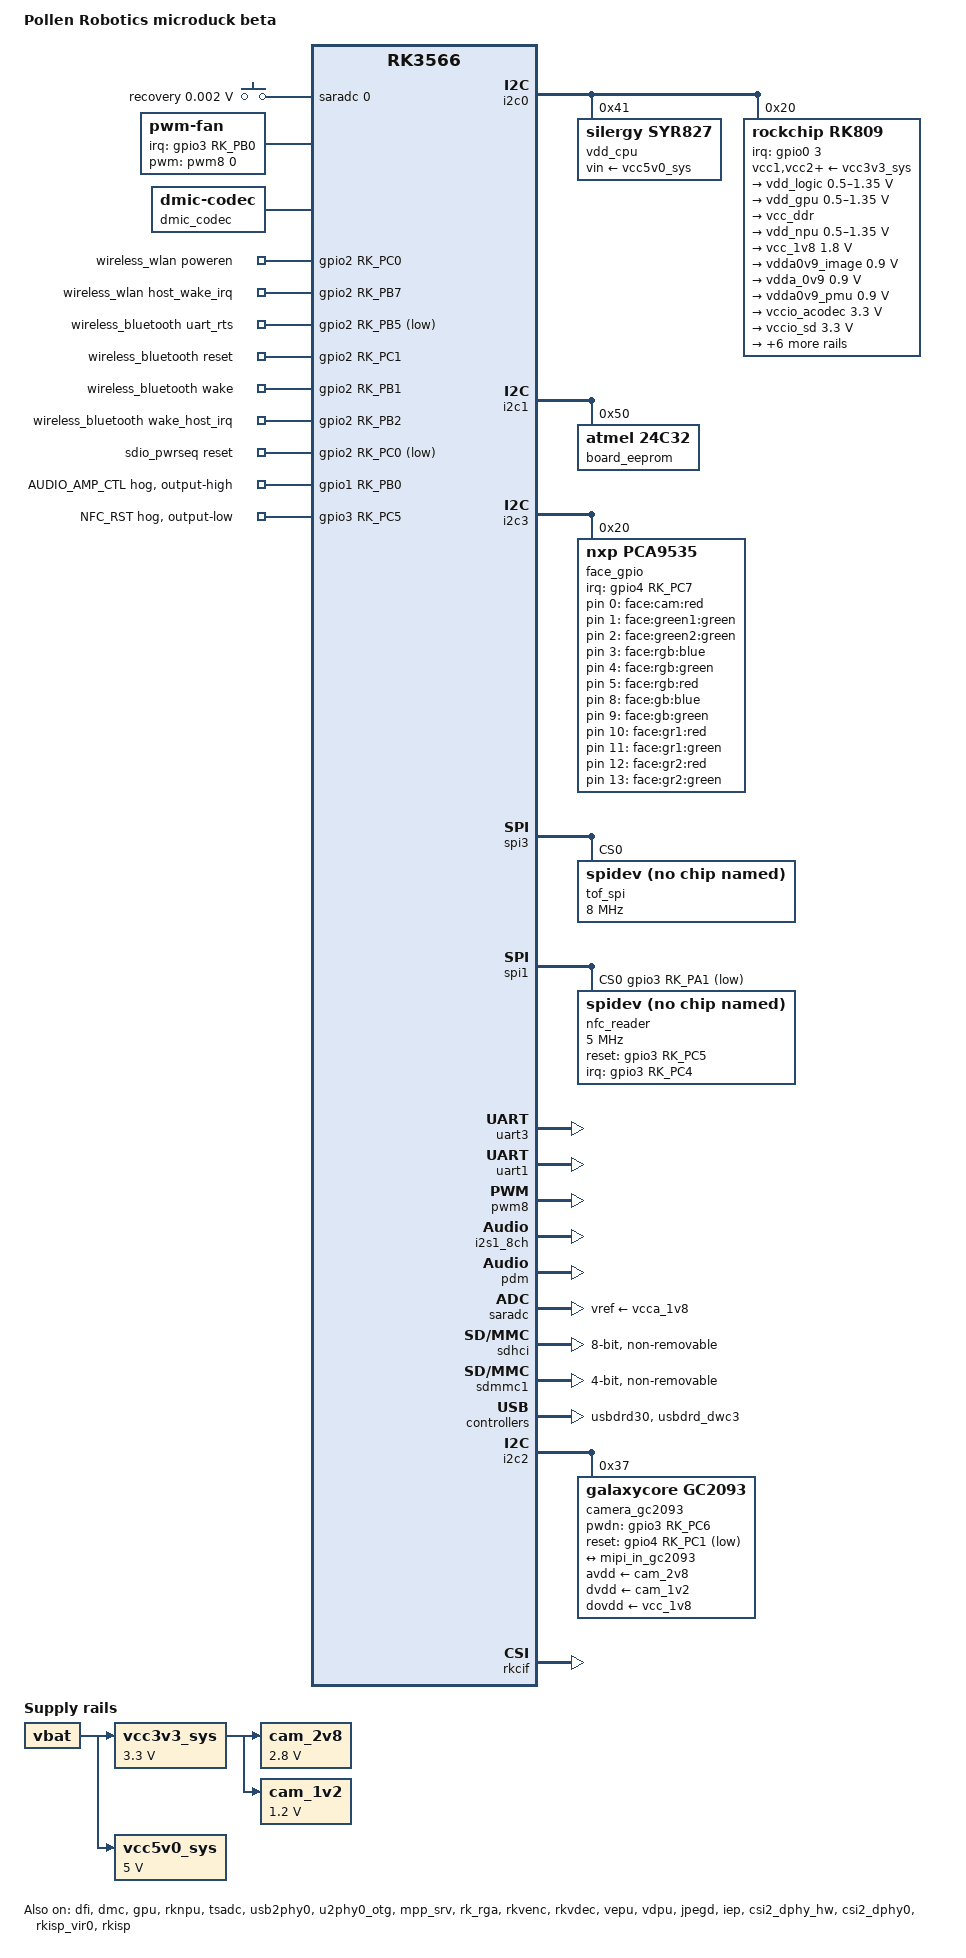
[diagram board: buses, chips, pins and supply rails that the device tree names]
// SPDX-License-Identifier: (GPL-2.0+ OR MIT)
/*
 * microduck beta: Seeed "MicroDuck Main Board", RK3566, 1 GB DDR4, 64 GB eMMC.
 *
 * Transcribed from the V0.1 schematic dated 2026-09-09 (24 sheets), then
 * corrected against the device tree Seeed's own image boots on a real board
 * (Armbian "microduck", vendor 6.1.172, built 2026-09-29; model "Microduck
 * Main Board V0.1", compatible "seeed,microduck"), read from
 * /sys/firmware/fdt on 2026-10-05. The schematic is OLDER than the boards, and
 * where the two disagree Seeed's tree wins, because their image runs on the
 * board -- its radio associates, for one. Blocks marked "Seeed DTB" were taken
 * or corrected from it; the rest is still "what V0.1 says". Sheet numbers are
 * cited so a newer schematic can be diffed against this file block by block.
 *
 * Built on Rockchip's own rk3566.dtsi + rk3568-linux.dtsi, the same base as
 * radxa's rk3566-radxa-zero3.dtsi, so everything SoC-level (MPP, RGA, ISP,
 * NPU, GPU) is described exactly as on the Zero 3W the image already runs on.
 * What differs is the board: a different PMIC (RK809, not RK817), a different
 * motor UART, eMMC instead of SD, a codec instead of HDMI, and a face board.
 *
 * Seeed's image is Armbian, and its kernel tree is not ours, so their DTB is
 * evidence, not a drop-in: SoC-level nodes differ between the two trees.
 *
 * Not a Zero 3W in any respect beyond the SoC: do not include
 * rk3566-radxa-zero3.dtsi here, and do not port fixes between the two blindly.
 */

/dts-v1/;

#include <dt-bindings/gpio/gpio.h>
#include <dt-bindings/input/input.h>
#include <dt-bindings/pinctrl/rockchip.h>
#include <dt-bindings/pwm/pwm.h>
#include "rk3566.dtsi"
#include "rk3568-linux.dtsi"

/ {
	model = "Pollen Robotics microduck beta";
	/*
	 * The first entry is what tells software it is on a beta board:
	 * /proc/device-tree/compatible. The board *revision* within the family
	 * comes from the SARADC_VIN1 divider instead (see &saradc), so a later
	 * board spin keeps this string unless it needs a different DTB.
	 */
	compatible = "pollen,microduck-beta", "rockchip,rk3566";

	/*
	 * The motor bus is UART3 here, not UART2 -- but it enumerates as
	 * /dev/ttyS2, because these two aliases are swapped.
	 *
	 * Deliberate: /dev/ttyS2 is the motor bus in robotd.toml, in the daemon's
	 * install scripts and in every doc, because on the Zero 3W it really is
	 * UART2. Renaming the device per board would mean a per-machine robotd.toml
	 * (and so a per-machine build of the whole Rust daemon recipe) to change
	 * one string. 8250_dw takes its line number from the "serial" alias
	 * (8250_dw.c: of_alias_get_id(np, "serial")), so this costs nothing.
	 *
	 * UART2 itself stays the FIQ debug console (ttyFIQ0), which is not an 8250
	 * port, so nothing else wants the ttyS2 name.
	 */
	aliases {
		serial2 = &uart3;
		serial3 = &uart2;
	};

	/*
	 * rk3568-linux.dtsi's bootargs carry root=PARTUUID=614e0000-0000. Replaced,
	 * not appended to, for the reason 0001-*-restore-chosen-bootargs.patch gives
	 * for the Zero 3W: U-Boot's RAUC script passes root=PARTLABEL=rootfs_a|b,
	 * and a root= here would REPLACE it and pin every boot to one slot.
	 *
	 * Unlike the Zero 3W, earlycon and console=ttyFIQ0 are wanted and safe:
	 * UART2 (0xfe660000) is the debug UART on test pads TP83/TP84 (sheet 24,
	 * "Default debug UART 3.3V"), not the motor bus.
	 */
	chosen {
		bootargs = "earlycon=uart8250,mmio32,0xfe660000 console=ttyFIQ0 rw rootwait";
	};

	/* Sheet 4/5: the battery feeds two TPS54302 bucks. */
	vbat: vbat {
		compatible = "regulator-fixed";
		regulator-name = "vbat";
		regulator-always-on;
		regulator-boot-on;
	};

	vcc3v3_sys: vcc3v3-sys {
		compatible = "regulator-fixed";
		regulator-name = "vcc3v3_sys";
		regulator-always-on;
		regulator-boot-on;
		regulator-min-microvolt = <3300000>;
		regulator-max-microvolt = <3300000>;
		vin-supply = <&vbat>;
	};

	vcc5v0_sys: vcc5v0-sys {
		compatible = "regulator-fixed";
		regulator-name = "vcc5v0_sys";
		regulator-always-on;
		regulator-boot-on;
		regulator-min-microvolt = <5000000>;
		regulator-max-microvolt = <5000000>;
		vin-supply = <&vbat>;
	};

	/*
	 * Sheet 21/14: the Recovery button pulls SARADC_VIN0 to ground (10k to
	 * VCCA_1V8 otherwise). Described the way Rockchip's evb does it, because
	 * Rockchip's U-Boot reads this node from the kernel DTB to decide whether
	 * to enter rockusb (loader) mode -- which is what lets the button replace
	 * shorting the maskrom pads for a reflash. NOT verified on this board:
	 * docs/agents/beta-board.md says how to check.
	 */
	adc-keys {
		compatible = "adc-keys";
		io-channels = <&saradc 0>;
		io-channel-names = "buttons";
		keyup-threshold-microvolt = <1800000>;
		poll-interval = <100>;

		recovery-key {
			label = "recovery";
			linux,code = <KEY_VOLUMEUP>;
			press-threshold-microvolt = <1750>;
		};
	};

	/*
	 * Sheet 21: 4-pin fan header, PWM8_M0 through a level shifter, tach on
	 * GPIO3_B0 through a MOSFET with a 10k pull-up. Whether a fan is fitted
	 * on the beta units is not known; with none, the tach simply reads 0.
	 * Seeed DTB has the same PWM but no tach interrupt; kept from V0.1.
	 */
	fan: pwm-fan {
		compatible = "pwm-fan";
		#cooling-cells = <2>;
		pwms = <&pwm8 0 40000 0>;
		/* Cooling states 0-3, driven by soc-thermal's fan trips below. */
		cooling-levels = <0 110 180 255>;
		interrupt-parent = <&gpio3>;
		interrupts = <RK_PB0 IRQ_TYPE_EDGE_FALLING>;
		pulses-per-revolution = <2>;
		pinctrl-names = "default";
		pinctrl-0 = <&fan_tach>;
	};

	/*
	 * Sheet 7: speaker. The codec's HPL output drives an NS4150B class-D amp
	 * (enable = AUDIO_AMP_CTL, GPIO1_B0) into the 4 ohm speaker. SPK_OUT is
	 * not connected, so the codec must play on its *headphone* path; see
	 * hp-ctl-gpios on &rk809_codec.
	 */
	rk809_sound: rk809-sound {
		compatible = "rockchip,multicodecs-card";
		rockchip,card-name = "rockchip-rk809";
		rockchip,format = "i2s";
		rockchip,mclk-fs = <256>;
		rockchip,cpu = <&i2s1_8ch>;
		rockchip,codec = <&rk809_codec>;
		status = "okay";
	};

	/*
	 * Sheet 18/24: the face board's microphone is PDM, on PDM_CLK1_M0
	 * (GPIO1_A4) and PDM_SDI1_M0 (GPIO1_B2). Not an analog mic into the
	 * codec: MIC1P/N on the RK809 are tied off (sheet 7).
	 */
	/* Seeed DTB: a stereo dmic-codec, card name "face-mic". */
	dmic_codec: dmic-codec {
		compatible = "dmic-codec";
		num-channels = <2>;
		#sound-dai-cells = <0>;
	};

	face_mic_sound: face-mic-sound {
		compatible = "simple-audio-card";
		simple-audio-card,name = "face-mic";
		simple-audio-card,format = "pdm";

		simple-audio-card,cpu {
			sound-dai = <&pdm>;
		};

		simple-audio-card,codec {
			sound-dai = <&dmic_codec>;
		};
	};

	/*
	 * Seeed DTB: twelve LEDs on the face board, driven through the PCA9535
	 * expander on I2C3 (V0.1 does not show the face board). Pins 6, 7, 14
	 * and 15 of the expander are not LEDs. Labels are Seeed's.
	 */
	face_leds: face-leds {
		compatible = "gpio-leds";

		led-cam {
			label = "face:cam:red";
			gpios = <&face_gpio 0 GPIO_ACTIVE_HIGH>;
		};

		led-green1 {
			label = "face:green1:green";
			gpios = <&face_gpio 1 GPIO_ACTIVE_HIGH>;
			linux,default-trigger = "heartbeat";
		};

		led-green2 {
			label = "face:green2:green";
			gpios = <&face_gpio 2 GPIO_ACTIVE_HIGH>;
		};

		led-rgb-blue {
			label = "face:rgb:blue";
			gpios = <&face_gpio 3 GPIO_ACTIVE_HIGH>;
		};

		led-rgb-green {
			label = "face:rgb:green";
			gpios = <&face_gpio 4 GPIO_ACTIVE_HIGH>;
		};

		led-rgb-red {
			label = "face:rgb:red";
			gpios = <&face_gpio 5 GPIO_ACTIVE_HIGH>;
		};

		led-gb-blue {
			label = "face:gb:blue";
			gpios = <&face_gpio 8 GPIO_ACTIVE_HIGH>;
		};

		led-gb-green {
			label = "face:gb:green";
			gpios = <&face_gpio 9 GPIO_ACTIVE_HIGH>;
		};

		led-gr1-red {
			label = "face:gr1:red";
			gpios = <&face_gpio 10 GPIO_ACTIVE_HIGH>;
		};

		led-gr1-green {
			label = "face:gr1:green";
			gpios = <&face_gpio 11 GPIO_ACTIVE_HIGH>;
		};

		led-gr2-red {
			label = "face:gr2:red";
			gpios = <&face_gpio 12 GPIO_ACTIVE_HIGH>;
		};

		led-gr2-green {
			label = "face:gr2:green";
			gpios = <&face_gpio 13 GPIO_ACTIVE_HIGH>;
		};
	};

	/*
	 * Sheet 22 + Seeed DTB: the WL6201S module is a WuQi WQ9201S (driver
	 * wq_wlan, firmware wq9201_*, BT as H4 over UART1). Seeed's image
	 * associates with it, so these GPIOs are measured truth, and they are
	 * NOT where V0.1 puts them: every control line is on bank 2, not bank 0.
	 *   WIFI_REG_ON GPIO2_C0, WIFI_WAKE_HOST GPIO2_B7,
	 *   BT_REG_ON GPIO2_C1, HOST_WAKE_BT GPIO2_B1, BT_WAKE_HOST GPIO2_B2.
	 * GPIO2_B1/B2 are I2C4_M1 in V0.1 (the Qwiic port), which is why &i2c4
	 * is disabled below.
	 */
	wireless_wlan: wireless-wlan {
		compatible = "wlan-platdata";
		rockchip,grf = <&grf>;
		WIFI,poweren_gpio = <&gpio2 RK_PC0 GPIO_ACTIVE_HIGH>;
		WIFI,host_wake_irq = <&gpio2 RK_PB7 GPIO_ACTIVE_HIGH>;
		pinctrl-names = "default";
		pinctrl-0 = <&wifi_host_wake>;
		status = "okay";
	};

	wireless_bluetooth: wireless-bluetooth {
		compatible = "bluetooth-platdata";
		uart_rts_gpios = <&gpio2 RK_PB5 GPIO_ACTIVE_LOW>;
		pinctrl-names = "default", "rts_gpio";
		pinctrl-0 = <&uart1m0_rtsn>;
		pinctrl-1 = <&uart1_gpios>;
		BT,reset_gpio    = <&gpio2 RK_PC1 GPIO_ACTIVE_HIGH>;
		BT,wake_gpio     = <&gpio2 RK_PB1 GPIO_ACTIVE_HIGH>;
		BT,wake_host_irq = <&gpio2 RK_PB2 GPIO_ACTIVE_HIGH>;
		status = "okay";
	};

	sdio_pwrseq: sdio-pwrseq {
		compatible = "mmc-pwrseq-simple";
		pinctrl-names = "default";
		pinctrl-0 = <&wifi_enable_h>;
		post-power-on-delay-ms = <200>;
		reset-gpios = <&gpio2 RK_PC0 GPIO_ACTIVE_LOW>;
	};
};

&cpu0 {
	cpu-supply = <&vdd_cpu>;
};

&dfi {
	status = "okay";
};

&dmc {
	center-supply = <&vdd_logic>;
	status = "okay";
};

&gpu {
	mali-supply = <&vdd_gpu>;
	status = "okay";
};

&rknpu {
	rknpu-supply = <&vdd_npu>;
	status = "okay";
};

&rknpu_mmu {
	status = "okay";
};

/*
 * Sheet 4, "IO Power Domain Map" -- and the one block in this file that can
 * damage the SoC if it is wrong. Telling a 3.3 V-supplied bank it is at 1.8 V
 * overdrives its pads.
 *
 * Seeed DTB, which disagrees with V0.1 on exactly one bank: VCCIO4 (the
 * radio's SDIO, UART1 and control lines) is 1.8 V on the real board, where
 * V0.1 draws it from VCC_3V3. Every other value matches both. Still worth one
 * measurement at C204 (VCCIO4) and C191 (VCCIO6) on the first board, since this
 * is the block that damages pads when it is wrong. Against the Zero 3W, VCCIO6
 * is the bank that differs: 1.8 V here (camera, ToF), 3.3 V there.
 */
&pmu_io_domains {
	status = "okay";
	pmuio1-supply = <&vcc3v3_pmu>;
	pmuio2-supply = <&vcc3v3_pmu>;
	vccio1-supply = <&vccio_acodec>;	/* 3.3 V: I2S1 to the codec, amp enable */
	vccio2-supply = <&vcc_1v8>;		/* 1.8 V: eMMC, FLASH_VOL_SEL high */
	vccio3-supply = <&vccio_sd>;		/* 3.3 V: SDMMC0, unconnected */
	vccio4-supply = <&vcc_1v8>;		/* 1.8 V: SDIO, UART1, control lines to the radio */
	vccio5-supply = <&vcc_3v3>;		/* 3.3 V: motors, IMU I2C3, NFC SPI1, fan */
	vccio6-supply = <&vcc_1v8>;		/* 1.8 V: camera, ToF SPI3 */
	vccio7-supply = <&vcc_3v3>;		/* 3.3 V: UART9 test points, face expander IRQ */
};

/* Sheet 6/7: RK809-5 PMIC and the RK860-1 CPU rail, both on I2C0. */
&i2c0 {
	status = "okay";

	/*
	 * RK860-1 (V0.1 also allows a pin-to-pin TCS4525-WT). Seeed DTB: at 0x41,
	 * not the 0x40 radxa's Zero 3 RK860 uses, with the same silergy,syr827
	 * description. VSEL is PMIC_SLEEP_H, as on the Zero 3.
	 */
	vdd_cpu: rk860x@41 {
		compatible = "silergy,syr827";
		reg = <0x41>;
		vin-supply = <&vcc5v0_sys>;
		regulator-compatible = "fan53555-reg";
		regulator-name = "vdd_cpu";
		regulator-min-microvolt = <712500>;
		regulator-max-microvolt = <1390000>;
		regulator-init-microvolt = <1000000>;
		regulator-ramp-delay = <2300>;
		fcs,suspend-voltage-selector = <1>;
		regulator-boot-on;
		regulator-always-on;
		regulator-state-mem {
			regulator-off-in-suspend;
		};
	};

	rk809: pmic@20 {
		compatible = "rockchip,rk809";
		reg = <0x20>;
		interrupt-parent = <&gpio0>;
		interrupts = <3 IRQ_TYPE_LEVEL_LOW>;

		pinctrl-names = "default", "pmic-sleep",
				"pmic-power-off", "pmic-reset";
		pinctrl-0 = <&pmic_int>;
		pinctrl-1 = <&soc_slppin_slp>, <&rk817_slppin_slp>;
		pinctrl-2 = <&soc_slppin_gpio>, <&rk817_slppin_pwrdn>;
		pinctrl-3 = <&soc_slppin_gpio>, <&rk817_slppin_rst>;

		rockchip,system-power-controller;
		wakeup-source;
		#clock-cells = <1>;
		clock-output-names = "rk808-clkout1", "rk808-clkout2";
		/* 1: rst regs (default in codes), 0: rst the pmic */
		pmic-reset-func = <0>;
		/* not save the PMIC_POWER_EN register in uboot */
		not-save-power-en = <1>;

		/* Sheet 6: every input is VCC3V3_SYS. */
		vcc1-supply = <&vcc3v3_sys>;
		vcc2-supply = <&vcc3v3_sys>;
		vcc3-supply = <&vcc3v3_sys>;
		vcc4-supply = <&vcc3v3_sys>;
		vcc5-supply = <&vcc3v3_sys>;
		vcc6-supply = <&vcc3v3_sys>;
		vcc7-supply = <&vcc3v3_sys>;
		vcc8-supply = <&vcc3v3_sys>;
		vcc9-supply = <&vcc3v3_sys>;

		pwrkey {
			status = "okay";
		};

		pinctrl_rk8xx: pinctrl_rk8xx {
			gpio-controller;
			#gpio-cells = <2>;

			rk817_slppin_null: rk817_slppin_null {
				pins = "gpio_slp";
				function = "pin_fun0";
			};

			rk817_slppin_slp: rk817_slppin_slp {
				pins = "gpio_slp";
				function = "pin_fun1";
			};

			rk817_slppin_pwrdn: rk817_slppin_pwrdn {
				pins = "gpio_slp";
				function = "pin_fun2";
			};

			rk817_slppin_rst: rk817_slppin_rst {
				pins = "gpio_slp";
				function = "pin_fun3";
			};
		};

		/*
		 * Rail names and voltages from sheet 4's power table. The order of
		 * nodes follows the PMIC channels, not the boot slots.
		 */
		regulators {
			vdd_logic: DCDC_REG1 {
				regulator-always-on;
				regulator-boot-on;
				regulator-min-microvolt = <500000>;
				regulator-max-microvolt = <1350000>;
				regulator-init-microvolt = <900000>;
				regulator-ramp-delay = <6001>;
				regulator-initial-mode = <0x2>;
				regulator-name = "vdd_logic";
				regulator-state-mem {
					regulator-off-in-suspend;
				};
			};

			vdd_gpu: DCDC_REG2 {
				regulator-always-on;
				regulator-boot-on;
				regulator-min-microvolt = <500000>;
				regulator-max-microvolt = <1350000>;
				regulator-init-microvolt = <900000>;
				regulator-ramp-delay = <6001>;
				regulator-initial-mode = <0x2>;
				regulator-name = "vdd_gpu";
				regulator-state-mem {
					regulator-off-in-suspend;
				};
			};

			/*
			 * DRAM supply, set by the feedback divider (R78/R79), not software.
			 * V0.1 fits it for DDR3 (1.53 V); the boards carry DDR4, so the
			 * fitted divider is presumably the DDR4 one (1.2 V).
			 */
			vcc_ddr: DCDC_REG3 {
				regulator-always-on;
				regulator-boot-on;
				regulator-initial-mode = <0x2>;
				regulator-name = "vcc_ddr";
				regulator-state-mem {
					regulator-on-in-suspend;
				};
			};

			/* The NPU has its own rail here; on the Zero 3 it shares vdd_gpu. */
			vdd_npu: DCDC_REG4 {
				regulator-always-on;
				regulator-boot-on;
				regulator-min-microvolt = <500000>;
				regulator-max-microvolt = <1350000>;
				regulator-init-microvolt = <900000>;
				regulator-ramp-delay = <6001>;
				regulator-initial-mode = <0x2>;
				regulator-name = "vdd_npu";
				regulator-state-mem {
					regulator-off-in-suspend;
				};
			};

			vcc_1v8: DCDC_REG5 {
				regulator-always-on;
				regulator-boot-on;
				regulator-min-microvolt = <1800000>;
				regulator-max-microvolt = <1800000>;
				regulator-name = "vcc_1v8";
				regulator-state-mem {
					regulator-off-in-suspend;
				};
			};

			/* MIPI CSI analog 0.9 V. */
			vdda0v9_image: LDO_REG1 {
				regulator-always-on;
				regulator-boot-on;
				regulator-min-microvolt = <900000>;
				regulator-max-microvolt = <900000>;
				regulator-name = "vdda0v9_image";
				regulator-state-mem {
					regulator-off-in-suspend;
				};
			};

			vdda_0v9: LDO_REG2 {
				regulator-always-on;
				regulator-boot-on;
				regulator-min-microvolt = <900000>;
				regulator-max-microvolt = <900000>;
				regulator-name = "vdda_0v9";
				regulator-state-mem {
					regulator-off-in-suspend;
				};
			};

			vdda0v9_pmu: LDO_REG3 {
				regulator-always-on;
				regulator-boot-on;
				regulator-min-microvolt = <900000>;
				regulator-max-microvolt = <900000>;
				regulator-name = "vdda0v9_pmu";
				regulator-state-mem {
					regulator-on-in-suspend;
					regulator-suspend-microvolt = <900000>;
				};
			};

			/*
			 * 3.3 V, not the evb's 3.0 V: sheet 4 puts VCCIO1 at 3.3 V,
			 * and VCCIO1 carries the I2S1 lines and the amp enable.
			 */
			vccio_acodec: LDO_REG4 {
				regulator-always-on;
				regulator-boot-on;
				regulator-min-microvolt = <3300000>;
				regulator-max-microvolt = <3300000>;
				regulator-name = "vccio_acodec";
				regulator-state-mem {
					regulator-off-in-suspend;
				};
			};

			vccio_sd: LDO_REG5 {
				regulator-always-on;
				regulator-boot-on;
				regulator-min-microvolt = <3300000>;
				regulator-max-microvolt = <3300000>;
				regulator-name = "vccio_sd";
				regulator-state-mem {
					regulator-off-in-suspend;
				};
			};

			vcc3v3_pmu: LDO_REG6 {
				regulator-always-on;
				regulator-boot-on;
				regulator-min-microvolt = <3300000>;
				regulator-max-microvolt = <3300000>;
				regulator-name = "vcc3v3_pmu";
				regulator-state-mem {
					regulator-on-in-suspend;
					regulator-suspend-microvolt = <3300000>;
				};
			};

			vcca_1v8: LDO_REG7 {
				regulator-always-on;
				regulator-boot-on;
				regulator-min-microvolt = <1800000>;
				regulator-max-microvolt = <1800000>;
				regulator-name = "vcca_1v8";
				regulator-state-mem {
					regulator-off-in-suspend;
				};
			};

			vcca1v8_pmu: LDO_REG8 {
				regulator-always-on;
				regulator-boot-on;
				regulator-min-microvolt = <1800000>;
				regulator-max-microvolt = <1800000>;
				regulator-name = "vcca1v8_pmu";
				regulator-state-mem {
					regulator-on-in-suspend;
					regulator-suspend-microvolt = <1800000>;
				};
			};

			/* MIPI CSI analog 1.8 V. */
			vcca1v8_image: LDO_REG9 {
				regulator-always-on;
				regulator-boot-on;
				regulator-min-microvolt = <1800000>;
				regulator-max-microvolt = <1800000>;
				regulator-name = "vcca1v8_image";
				regulator-state-mem {
					regulator-off-in-suspend;
				};
			};

			vcc_3v3: SWITCH_REG1 {
				regulator-always-on;
				regulator-boot-on;
				regulator-name = "vcc_3v3";
				regulator-state-mem {
					regulator-off-in-suspend;
				};
			};

			vcc3v3_sd: SWITCH_REG2 {
				regulator-always-on;
				regulator-boot-on;
				regulator-name = "vcc3v3_sd";
				regulator-state-mem {
					regulator-off-in-suspend;
				};
			};
		};

		/*
		 * The amp hangs off HPL (sheet 7), enabled by GPIO1_B0. Seeed DTB
		 * drives it as spk-ctl-gpios, so the speaker is the SPK path -- but
		 * on that path rk817_codec.c powers the DACs feeding HPL only with
		 * use-ext-amplifier (otherwise it powers them DOWN and uses the
		 * internal class-D on SPK_OUT, which is not connected). Seeed's tree
		 * omits it; this one sets it. Userspace still selects the path once:
		 * `amixer cset name='Playback Path' SPK`.
		 *
		 * The amp's enable is NOT given to the codec as spk-ctl-gpios: the
		 * driver switched it on only once a stream had started and off as it
		 * ended, and the NS4150B's start-up ate the beginning of every sound
		 * (a quack padded with 300 ms of silence played whole; unpadded, its
		 * start was cut). The hog in &gpio1 keeps the amp on from boot, as the
		 * zero3's codec board always was.
		 */
		rk809_codec: codec {
			#sound-dai-cells = <0>;
			compatible = "rockchip,rk809-codec", "rockchip,rk817-codec";
			clocks = <&cru I2S1_MCLKOUT>;
			clock-names = "mclk";
			assigned-clocks = <&cru I2S1_MCLKOUT>, <&cru I2S1_MCLK_TX_IOE>;
			assigned-clock-rates = <12288000>;
			assigned-clock-parents = <&cru I2S1_MCLKOUT_TX>, <&cru I2S1_MCLKOUT_TX>;
			pinctrl-names = "default";
			pinctrl-0 = <&i2s1m0_mclk &amp_ctl>;
			use-ext-amplifier;
			hp-volume = <20>;
			spk-volume = <3>;
			status = "okay";
		};
	};
};

/*
 * Sheet 24: board ID EEPROM, FT24C32A at 0x50. Its WP pin is pulled high by R52
 * and the GPIO that could drive it (EEPROM_WP, GPIO0_C7) goes through R53,
 * which V0.1 marks DNP -- so from software it is read-only. Writing it means
 * shorting TP37 (WP) to TP36 (GND). Whether Seeed programs anything into it is
 * not known; read /sys/bus/i2c/devices/1-0050/eeprom to find out.
 */
&i2c1 {
	status = "okay";

	board_eeprom: eeprom@50 {
		compatible = "atmel,24c32";
		reg = <0x50>;
		pagesize = <32>;
		read-only;
	};
};

/*
 * Sheet 17/24: the face board's IMU, on I2C3_M1 with INT1/INT2 on GPIO3_B4/B3.
 * tofd drives it from userspace through /dev/i2c-3, which is the second of its
 * BUS_CANDIDATES, so it needs nothing more than the bus.
 */
&i2c3 {
	status = "okay";
	pinctrl-names = "default";
	pinctrl-0 = <&i2c3m1_xfer>;

	/*
	 * Seeed DTB: a PCA9535 16-bit expander on the face board, interrupt on
	 * GPIO4_C7 (the BTB pin V0.1 leaves unnamed). It drives the face LEDs.
	 * Whether the BMI088 is on this bus too is not in their tree -- tofd
	 * opens it from userspace, so `i2cdetect -y 3` is the check.
	 */
	face_gpio: gpio@20 {
		compatible = "nxp,pca9535";
		reg = <0x20>;
		gpio-controller;
		#gpio-cells = <2>;
		interrupt-controller;
		#interrupt-cells = <2>;
		interrupt-parent = <&gpio4>;
		interrupts = <RK_PC7 IRQ_TYPE_LEVEL_LOW>;
		pinctrl-names = "default";
		pinctrl-0 = <&face_gpio_int>;
	};
};

/*
 * Sheet 24 shows a Qwiic connector on I2C4_M1 (GPIO2_B1/B2). On the real board
 * those two pins are the radio's BT wake lines (Seeed DTB), and Seeed leaves
 * I2C4 disabled. Enabling it would take the pins away from Bluetooth.
 */
&i2c4 {
	status = "disabled";
};

/*
 * Sheet 15/24: the face board's ToF sensor is on SPI3_M0 at 1.8 V, with
 * TOF_INT on GPIO4_B6 and TOF_SYNC on GPIO4_B7. The part is a VL53L8CX
 * (VL53L8CXV9GC/1); the prototype's VL53L5CX is I2C only. Exposed as spidev
 * for tofd at Seeed DTB's 8 MHz ceiling; tofd itself clocks it at ST's 2 MHz.
 * microduck-tof-spidev gives the node to the robot group.
 */
&spi3 {
	status = "okay";
	pinctrl-names = "default", "high_speed";
	pinctrl-0 = <&spi3m0_cs0 &spi3m0_pins>;
	pinctrl-1 = <&spi3m0_cs0 &spi3m0_pins_hs>;

	tof_spi: spidev@0 {
		compatible = "rockchip,spidev";
		reg = <0>;
		spi-max-frequency = <8000000>;
	};
};

/*
 * Sheet 23: ST25R100 NFC reader on SPI1_M1, IRQ on GPIO3_C4, reset on
 * GPIO3_C5, two single-ended antennas (RFO1/RFI1, RFO2/RFI2). No kernel driver
 * exists for it; spidev, for nfcd's userspace driver (microduck nfc/), which
 * polls the chip's IRQ status registers rather than the IRQ line. Seeed DTB:
 * chip select as a GPIO (GPIO3_A1, the CS0_M1 pin) rather than the
 * controller's, and 5 MHz. RESET is active high (DS14139 §5.1) and held low by
 * the hog in &gpio3, so the chip runs whatever userspace does; the interrupt
 * and reset stay listed here for anyone reading the node.
 */
&spi1 {
	status = "okay";
	pinctrl-names = "default";
	pinctrl-0 = <&spi1m1_pins>;
	cs-gpios = <&gpio3 RK_PA1 GPIO_ACTIVE_LOW>;

	nfc_reader: spidev@0 {
		compatible = "rockchip,spidev";
		reg = <0>;
		spi-max-frequency = <5000000>;
		interrupt-parent = <&gpio3>;
		interrupts = <RK_PC4 IRQ_TYPE_EDGE_RISING>;
		reset-gpios = <&gpio3 RK_PC5 GPIO_ACTIVE_HIGH>;
	};
};

/*
 * Sheet 24: the Dynamixel bus. UART3_M1 (TX GPIO3_B7, RX GPIO3_C0) into a
 * half-duplex buffer pair whose direction is switched by the TX line itself,
 * so there is no RTS/direction GPIO to describe. /dev/ttyS2 -- see aliases.
 */
&uart3 {
	status = "okay";
	pinctrl-names = "default";
	pinctrl-0 = <&uart3m1_xfer>;
};

/* Bluetooth HCI, same pins as on the Zero 3W. */
&uart1 {
	status = "okay";
	pinctrl-names = "default";
	pinctrl-0 = <&uart1m0_xfer &uart1m0_ctsn>;
};

&pwm8 {
	status = "okay";
	pinctrl-names = "active";
	pinctrl-0 = <&pwm8m0_pins>;
};

&i2s1_8ch {
	status = "okay";
	rockchip,trcm-sync-tx-only;
	pinctrl-names = "default";
	pinctrl-0 = <&i2s1m0_sclktx &i2s1m0_lrcktx &i2s1m0_sdi0 &i2s1m0_sdo0>;
};

/*
 * The mic is on data line 1, so path 0 is pointed at SDI1:
 * rockchip,path-map[n] is the SDI line path n reads (rockchip_pdm.c,
 * rockchip_pdm_path_parse). Not verified on hardware.
 */
&pdm {
	status = "okay";
	pinctrl-names = "default";
	pinctrl-0 = <&pdmm0_clk1 &pdmm0_sdi1>;
	rockchip,path-map = <1 0 2 3>;
};

/*
 * Channel 0: the Recovery button. Channel 1: the hardware revision divider
 * (sheet 14, "Hardware board ID"): 10k up to 1.8 V, down-resistor per revision.
 * V0.1 fits only the pull-up, so raw 1023 is "Version_1"; Seeed's table
 * defines seven levels. Read it with
 *   cat /sys/bus/iio/devices/iio:device0/in_voltage1_raw
 */
&saradc {
	status = "okay";
	vref-supply = <&vcca_1v8>;
};

&tsadc {
	status = "okay";
};

/* Sheet 20: 8-bit eMMC at 1.8 V, the only storage. */
&sdhci {
	bus-width = <8>;
	supports-emmc;
	non-removable;
	no-sdio;
	no-sd;
	max-frequency = <200000000>;
	status = "okay";
};

/* No SD slot (SDMMC0 is unconnected on sheet 12). */
&sdmmc0 {
	status = "disabled";
};

&sdmmc1 {
	supports-sdio;
	bus-width = <4>;
	disable-wp;
	cap-sd-highspeed;
	cap-sdio-irq;
	keep-power-in-suspend;
	non-removable;
	rockchip,default-sample-phase = <180>;
	mmc-pwrseq = <&sdio_pwrseq>;
	no-sd;
	no-mmc;
	pinctrl-names = "default";
	pinctrl-0 = <&sdmmc1_bus4 &sdmmc1_cmd &sdmmc1_clk>;
	sd-uhs-sdr104;
	status = "okay";
};

/*
 * Sheet 13/24: USB is the USB-C "Recovery USB" alone -- OTG0 at USB 2.0, the
 * port the boot ROM's maskrom mode uses. In Linux it is the dwc3 OTG port;
 * there is no USB host connector and no USB 3 lane.
 */
&usb2phy0 {
	status = "okay";
};

&u2phy0_otg {
	status = "okay";
};

&usbdrd30 {
	status = "okay";
};

&usbdrd_dwc3 {
	status = "okay";
};

/* SoC media blocks, as on the Zero 3: mediad encodes with MPP. */
&mpp_srv {
	status = "okay";
};

&rk_rga {
	status = "okay";
};

&rkvenc {
	venc-supply = <&vdd_logic>;
	status = "okay";
};

&rkvenc_mmu {
	status = "okay";
};

&rkvdec {
	status = "okay";
};

&rkvdec_mmu {
	status = "okay";
};

&vepu {
	status = "okay";
};

&vepu_mmu {
	status = "okay";
};

&vdpu {
	status = "okay";
};

&vdpu_mmu {
	status = "okay";
};

&jpegd {
	status = "okay";
};

&jpegd_mmu {
	status = "okay";
};

&iep {
	status = "okay";
};

&iep_mmu {
	status = "okay";
};

/*
 * The camera (sheet 15): a GalaxyCore GC2093 at 0x37 on I2C2_M1, two data lanes
 * into csi2_dphy0, MCLK from CIF_CLKOUT (GPIO4_C0), PWDN on GPIO3_C6 (active
 * high) and RST on GPIO4_C1 (active low). Seeed DTB: every value here matches
 * the node their factory image boots, and on that image the GC2093 is the one
 * that probes ("Detected GC2093 sensor", 2026-10-06).
 *
 * Seeed's DTB also describes a GC2613 at 0x31 on the same connector, the part
 * the V0.1 schematic names. It is left out: nothing answers at 0x31 on the
 * board, the kernel (radxa's or Armbian's) has no gc2613 driver, and a sensor node nothing binds
 * leaves rkisp waiting on an async subdev that never arrives -- no /dev/video*
 * at all, even for the GC2093.
 *
 * The chain is 0003-*-imx219.patch's: sensor -> csi2_dphy0 -> rkisp_vir0, plus
 * rkisp/rkcif and their MMUs, all enabled together. CONFIG_VIDEO_GC2093 is
 * already =y in radxa's defconfig. microduck_daemon's mediad expects exactly
 * this sensor on a board declared "beta" (mediad/src/sensor.rs).
 *
 * The rails are Seeed's: two fixed, always-on regulators off vcc3v3_sys, and
 * vcc_1v8 for the I/O. The driver asks for 27 MHz on xvclk; CLK_CIF_OUT gives it,
 * and the pin is muxed to it by rkcif's pinctrl, where Seeed puts it.
 */

/ {
	cam_2v8: cam-2v8 {
		compatible = "regulator-fixed";
		regulator-name = "cam_2v8";
		regulator-always-on;
		regulator-boot-on;
		regulator-min-microvolt = <2800000>;
		regulator-max-microvolt = <2800000>;
		vin-supply = <&vcc3v3_sys>;
	};

	cam_1v2: cam-1v2 {
		compatible = "regulator-fixed";
		regulator-name = "cam_1v2";
		regulator-always-on;
		regulator-boot-on;
		regulator-min-microvolt = <1200000>;
		regulator-max-microvolt = <1200000>;
		vin-supply = <&vcc3v3_sys>;
	};
};

&i2c2 {
	status = "okay";
	pinctrl-names = "default";
	pinctrl-0 = <&i2c2m1_xfer>;
	#address-cells = <1>;
	#size-cells = <0>;

	camera_gc2093: camera-gc2093@37 {
		compatible = "galaxycore,gc2093";
		reg = <0x37>;
		clocks = <&cru CLK_CIF_OUT>;
		clock-names = "xvclk";
		power-domains = <&power RK3568_PD_VI>;
		avdd-supply = <&cam_2v8>;
		dvdd-supply = <&cam_1v2>;
		dovdd-supply = <&vcc_1v8>;
		pwdn-gpios = <&gpio3 RK_PC6 GPIO_ACTIVE_HIGH>;
		reset-gpios = <&gpio4 RK_PC1 GPIO_ACTIVE_LOW>;
		rockchip,camera-module-index = <0>;
		rockchip,camera-module-facing = "back";
		/* Seeed's values: a lookup key into rockchip's tuning data, kept so it matches. */
		rockchip,camera-module-name = "SIDB205300385-VA";
		rockchip,camera-module-lens-name = "default";
		status = "okay";

		port {
			gc2093_out: endpoint {
				remote-endpoint = <&mipi_in_gc2093>;
				data-lanes = <1 2>;
			};
		};
	};
};

&csi2_dphy_hw {
	status = "okay";
};

&csi2_dphy0 {
	status = "okay";

	ports {
		#address-cells = <1>;
		#size-cells = <0>;

		port@0 {
			reg = <0>;
			#address-cells = <1>;
			#size-cells = <0>;

			mipi_in_gc2093: endpoint@1 {
				reg = <1>;
				remote-endpoint = <&gc2093_out>;
				data-lanes = <1 2>;
			};
		};

		port@1 {
			reg = <1>;
			#address-cells = <1>;
			#size-cells = <0>;

			dphy0_out: endpoint@1 {
				reg = <1>;
				remote-endpoint = <&isp0_in>;
			};
		};
	};
};

&rkisp_vir0 {
	status = "okay";

	port {
		#address-cells = <1>;
		#size-cells = <0>;

		isp0_in: endpoint@0 {
			reg = <0>;
			remote-endpoint = <&dphy0_out>;
		};
	};
};

&rkisp {
	status = "okay";
};

&rkisp_mmu {
	status = "okay";
};

&rkcif {
	pinctrl-names = "default";
	pinctrl-0 = <&cif_clk>;
	status = "okay";
};

&rkcif_mmu {
	status = "okay";
};

/*
 * The fan, as active trips and cooling maps in soc-thermal.
 *
 * In soc-thermal and not in a zone of its own: Rockchip's thermal driver
 * registers exactly one zone per TSADC channel, the one named for it in the
 * SoC dtsi, so a second zone on sensor 0 is parsed and never registered (seen
 * on the board, 2026-10-05: no fan-thermal in /sys/class/thermal).
 *
 * soc-thermal runs power_allocator by default (CONFIG_THERMAL_DEFAULT_GOV_
 * POWER_ALLOCATOR), which steers only its last passive trip and only cooling
 * devices with a power model -- a fan has none, so under it the fan would never
 * move. microduck-fan switches the zone to step_wise at boot (the governor
 * cannot be chosen from DT), which walks the fan through these active trips and
 * still throttles the CPU at the dtsi's 85 C "target" trip, one step at a time.
 *
 * Without any of this the fan never stops: pwm-fan probes at full duty
 * (pwm-fan.c: set_pwm(ctx, MAX_PWM)) and only a thermal zone ever lowers it,
 * which is what Seeed's image does -- its fan is bound to nothing.
 *
 * Off below 52 C, low from 60 C, medium from 68 C, full from 75 C. Measured on
 * the board: duty 0/110/180/255 gives 0/7.9k/12.9k/18k rpm, so 0 is off on this
 * fan. Trip temperatures are starting points to tune on the robot.
 */
&soc_thermal {
	trips {
		fan_low: fan-low {
			temperature = <60000>;
			hysteresis = <8000>;
			type = "active";
		};

		fan_mid: fan-mid {
			temperature = <68000>;
			hysteresis = <4000>;
			type = "active";
		};

		fan_high: fan-high {
			temperature = <75000>;
			hysteresis = <4000>;
			type = "active";
		};
	};

	cooling-maps {
		fan-map0 {
			trip = <&fan_low>;
			cooling-device = <&fan 1 1>;
		};

		fan-map1 {
			trip = <&fan_mid>;
			cooling-device = <&fan 2 2>;
		};

		fan-map2 {
			trip = <&fan_high>;
			cooling-device = <&fan 3 3>;
		};
	};
};

&pinctrl {
	pmic {
		pmic_int: pmic_int {
			rockchip,pins = <0 RK_PA3 RK_FUNC_GPIO &pcfg_pull_up>;
		};

		soc_slppin_gpio: soc_slppin_gpio {
			rockchip,pins = <0 RK_PA2 RK_FUNC_GPIO &pcfg_output_low_pull_down>;
		};

		soc_slppin_slp: soc_slppin_slp {
			rockchip,pins = <0 RK_PA2 RK_FUNC_GPIO &pcfg_pull_up>;
		};

		soc_slppin_rst: soc_slppin_rst {
			rockchip,pins = <0 RK_PA2 RK_FUNC_GPIO &pcfg_pull_none>;
		};
	};

	audio {
		amp_ctl: amp-ctl {
			rockchip,pins = <1 RK_PB0 RK_FUNC_GPIO &pcfg_pull_down>;
		};
	};

	fan {
		fan_tach: fan-tach {
			rockchip,pins = <3 RK_PB0 RK_FUNC_GPIO &pcfg_pull_up>;
		};
	};

	wifi {
		wifi_enable_h: wifi-enable-h {
			rockchip,pins = <2 RK_PC0 RK_FUNC_GPIO &pcfg_pull_none>;
		};

		wifi_host_wake: wifi-host-wake {
			rockchip,pins = <2 RK_PB7 RK_FUNC_GPIO &pcfg_pull_down>;
		};
	};

	face {
		face_gpio_int: face-gpio-int {
			rockchip,pins = <4 RK_PC7 RK_FUNC_GPIO &pcfg_pull_up>;
		};
	};

	wireless-bluetooth {
		uart1_gpios: uart1-gpios {
			rockchip,pins = <2 RK_PB5 RK_FUNC_GPIO &pcfg_pull_none>;
		};
	};
};

/*
 * Line names for every signal V0.1 routes to a GPIO, so userspace finds them by
 * name (`gpiofind TOF_INT`) rather than by a number that a board revision can
 * move. Pins the DT already owns are named too, for `gpioinfo` readability.
 */
&gpio0 {
	gpio-line-names =
		/* GPIO0_A0-A7 */
		"", "TSADC_SHUT", "PMIC_SLEEP", "PMIC_INT",
		"", "", "", "FLASH_VOL_SEL",
		/* GPIO0_B0-B7 */
		"CLK32K_IN", "I2C0_SCL", "I2C0_SDA", "I2C1_SCL",
		"I2C1_SDA", "", "", "",
		/* GPIO0_C0-C7 */
		"", "", "", "",
		"", "", "", "EEPROM_WP",
		/* GPIO0_D0-D7 */
		"DEBUG_RX", "DEBUG_TX", "", "",
		"", "", "", "";
};

&gpio1 {
	gpio-line-names =
		/* GPIO1_A0-A7 */
		"", "", "I2S1_MCLK", "I2S1_SCLK",
		"PDM_CLK1", "I2S1_LRCK", "PDM_CLK0", "I2S1_SDO0",
		/* GPIO1_B0-B7 */
		"AUDIO_AMP_CTL", "", "PDM_SDI1", "I2S1_SDI0",
		"", "", "", "",
		/* GPIO1_C0-C7 */
		"", "", "", "",
		"", "", "", "",
		/* GPIO1_D0-D7 */
		"", "", "", "",
		"", "", "", "";

	/* The speaker amp (NS4150B) on for good; see &rk809_codec. */
	amp-enable-hog {
		gpio-hog;
		gpios = <RK_PB0 GPIO_ACTIVE_HIGH>;
		output-high;
		line-name = "AUDIO_AMP_CTL";
	};
};

&gpio2 {
	gpio-line-names =
		/* GPIO2_A0-A7 */
		"", "", "", "SDIO_D0",
		"SDIO_D1", "SDIO_D2", "SDIO_D3", "SDIO_CMD",
		/* GPIO2_B0-B7 */
		"SDIO_CLK", "HOST_WAKE_BT", "BT_WAKE_HOST", "BT_UART_RX",
		"BT_UART_TX", "BT_UART_RTS", "BT_UART_CTS", "WIFI_WAKE_HOST",
		/* GPIO2_C0-C7 */
		"WIFI_REG_ON", "BT_REG_ON", "", "",
		"", "", "", "",
		/* GPIO2_D0-D7 */
		"", "", "", "",
		"", "", "", "";
};

&gpio3 {
	gpio-line-names =
		/* GPIO3_A0-A7 */
		"", "NFC_CS", "", "",
		"", "", "", "",
		/* GPIO3_B0-B7 */
		"FAN_TACH", "FAN_PWM", "", "IMU_INT2",
		"IMU_INT1", "IMU_SCL", "IMU_SDA", "MOTOR_TX",
		/* GPIO3_C0-C7 */
		"MOTOR_RX", "NFC_MOSI", "NFC_MISO", "NFC_CLK",
		"NFC_IRQ", "NFC_RST", "CAM_PWDN", "",
		/* GPIO3_D0-D7 */
		"", "", "", "",
		"", "", "", "";

	/* The ST25R100 out of reset (RESET high holds it there). */
	nfc-reset-hog {
		gpio-hog;
		gpios = <RK_PC5 GPIO_ACTIVE_HIGH>;
		output-low;
		line-name = "NFC_RST";
	};
};

&gpio4 {
	gpio-line-names =
		/* GPIO4_A0-A7 */
		"", "", "", "",
		"", "", "TOF_CS", "",
		/* GPIO4_B0-B7 */
		"TOF_MISO", "", "TOF_MOSI", "TOF_CLK",
		"CAM_SDA", "CAM_SCL", "TOF_INT", "TOF_SYNC",
		/* GPIO4_C0-C7 */
		"CAM_MCLK", "CAM_RST", "", "",
		"", "UART9_TX", "UART9_RX", "FACE_GPIO_INT",
		/* GPIO4_D0-D7 */
		"BTB_GPIO4_D0", "", "", "",
		"", "", "", "";
};
